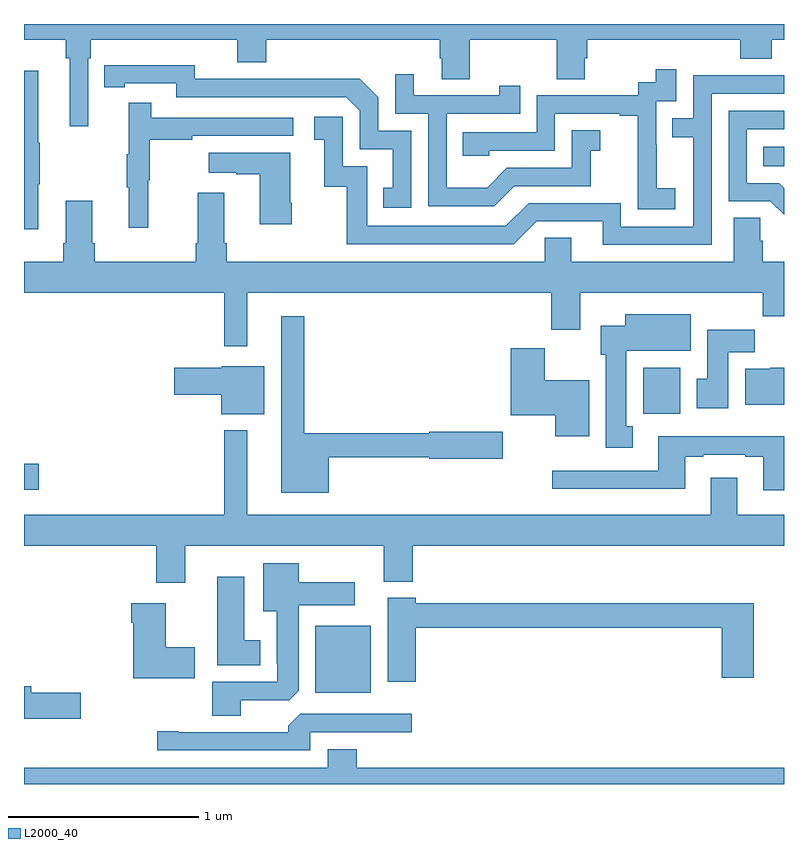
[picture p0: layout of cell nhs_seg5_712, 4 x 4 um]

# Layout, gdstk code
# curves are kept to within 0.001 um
import gdstk
lib = gdstk.Library(unit=1e-6, precision=1e-09)
def R(c, l, rs):  # rectangles x0, y0, x1, y1
    for r in rs: c.add(gdstk.rectangle(r[:2], r[2:], *l))
def P(c, l, *ps):  # polygons
    for p in ps: c.add(gdstk.Polygon(p, *l))
L2000_40 = (2000, 40)

nhs_seg5_712 = lib.new_cell('nhs_seg5_712')
R(nhs_seg5_712, L2000_40, [(156.533,897.278,156.826,897.631), (155,898.349,155.077,898.484), (158.258,898.748,158.455,898.99), (158.89,900.05,159,900.154)])
P(nhs_seg5_712, L2000_40, [(158.936,900.716),(159,900.716),(159,900.799),(155,900.799),(155,900.716),(155.221,900.716),(155.221,900.62),(155.24,900.62),(155.24,900.261),(155.337,900.261),(155.337,900.62),(155.351,900.62),(155.351,900.716),(156.122,900.716),(156.122,900.599),(156.275,900.599),(156.275,900.716),(157.187,900.716),(157.187,900.618),(157.199,900.618),(157.199,900.508),(157.347,900.508),(157.347,900.716),(157.804,900.716),(157.804,900.508),(157.951,900.508),(157.951,900.618),(157.964,900.618),(157.964,900.716),(158.771,900.716),(158.771,900.617),(158.936,900.617)],
  [(157.038,900.237),(156.864,900.237),(156.864,900.414),(156.766,900.512),(156.358,900.512),(156.358,900.51),(155.898,900.51),(155.898,900.583),(155.422,900.582),(155.422,900.466),(155.53,900.466),(155.53,900.486),(155.802,900.486),(155.802,900.414),(156.696,900.414),(156.768,900.342),(156.768,900.141),(156.941,900.141),(156.941,899.937),(156.892,899.937),(156.892,899.832),(157.038,899.832)],
  [(158.428,899.935),(158.33,899.935),(158.33,900.164),(158.328,900.164),(158.328,900.393),(158.433,900.393),(158.433,900.562),(158.325,900.562),(158.325,900.492),(158.232,900.492),(158.232,900.423),(157.698,900.423),(157.698,900.228),(157.309,900.228),(157.309,900.105),(157.449,900.105),(157.449,900.132),(157.794,900.132),(157.794,900.327),(158.135,900.327),(158.135,900.315),(158.231,900.315),(158.231,900.031),(158.23,900.031),(158.23,899.825),(158.428,899.825)],
  [(155.074,899.956),(155.082,899.956),(155.082,900.173),(155.074,900.173),(155.074,900.553),(155,900.553),(155,899.718),(155.074,899.718)],
  [(157.579,899.946),(157.983,899.946),(157.983,900.131),(158.032,900.131),(158.032,900.241),(157.884,900.241),(157.884,900.042),(157.542,900.042),(157.438,899.938),(157.224,899.938),(157.224,900.327),(157.613,900.327),(157.613,900.475),(157.502,900.475),(157.502,900.423),(157.051,900.423),(157.051,900.535),(156.954,900.535),(156.954,900.327),(157.128,900.327),(157.128,899.841),(157.474,899.841)],
  [(158.619,900.432),(159,900.432),(159,900.528),(158.523,900.528),(158.523,900.303),(158.413,900.303),(158.413,900.202),(158.523,900.202),(158.523,899.733),(158.142,899.733),(158.142,899.856),(157.656,899.856),(157.536,899.736),(156.807,899.736),(156.807,900.051),(156.678,900.051),(156.678,900.31),(156.528,900.31),(156.528,900.189),(156.581,900.189),(156.581,899.943),(156.699,899.943),(156.699,899.64),(157.578,899.64),(157.698,899.76),(158.045,899.76),(158.045,899.637),(158.619,899.637)],
  [(155.654,899.976),(155.662,899.976),(155.662,900.19),(155.885,900.19),(155.885,900.21),(156.418,900.21),(156.418,900.306),(155.669,900.306),(155.669,900.385),(155.552,900.385),(155.552,900.113),(155.541,900.113),(155.541,899.939),(155.552,899.939),(155.552,899.727),(155.654,899.727)],
  [(159,899.935),(158.974,899.961),(158.805,899.961),(158.805,900.246),(159,900.246),(159,900.342),(158.709,900.342),(158.709,899.865),(158.928,899.865),(159,899.794)],
  [(156.408,899.857),(156.4,899.857),(156.4,900.121),(155.973,900.121),(155.973,900.017),(156.116,900.017),(156.116,900.007),(156.242,900.007),(156.242,899.745),(156.408,899.745)],
  [(156.175,899.384),(157.775,899.384),(157.775,899.19),(157.927,899.19),(157.927,899.384),(158.887,899.384),(158.887,899.26),(159,899.26),(159,899.548),(158.888,899.548),(158.888,899.657),(158.874,899.657),(158.874,899.78),(158.735,899.78),(158.735,899.548),(157.879,899.548),(157.879,899.675),(157.74,899.675),(157.74,899.548),(156.068,899.548),(156.068,899.644),(156.055,899.644),(156.055,899.911),(155.915,899.911),(155.915,899.644),(155.903,899.644),(155.903,899.548),(155.372,899.548),(155.372,899.644),(155.359,899.644),(155.359,899.869),(155.219,899.869),(155.219,899.644),(155.207,899.644),(155.207,899.548),(155,899.548),(155,899.384),(156.054,899.384),(156.054,899.103),(156.175,899.103)],
  [(158.203,898.682),(158.17,898.682),(158.17,899.078),(158.509,899.078),(158.509,899.272),(158.165,899.272),(158.165,899.212),(158.036,899.212),(158.036,899.058),(158.063,899.058),(158.063,898.569),(158.203,898.569)],
  [(156.604,898.518),(157.134,898.518),(157.134,898.51),(157.519,898.51),(157.519,898.652),(157.134,898.652),(157.134,898.646),(156.475,898.646),(156.475,899.26),(156.353,899.26),(156.353,898.331),(156.604,898.331)],
  [(158.707,899.072),(158.846,899.072),(158.846,899.19),(158.597,899.19),(158.597,898.932),(158.54,898.932),(158.54,898.776),(158.707,898.776)],
  [(157.975,898.924),(157.74,898.924),(157.74,899.092),(157.562,899.092),(157.562,898.739),(157.796,898.739),(157.796,898.628),(157.975,898.628)],
  [(156.265,898.999),(156.042,898.999),(156.042,898.989),(155.79,898.989),(155.79,898.847),(156.038,898.847),(156.038,898.745),(156.265,898.745)],
  [(159,898.99),(158.928,898.99),(158.928,898.984),(158.795,898.984),(158.795,898.796),(159,898.796)],
  [(155.848,898.052),(156.893,898.052),(156.893,897.863),(157.046,897.863),(157.046,898.052),(159,898.052),(159,898.216),(158.755,898.216),(158.755,898.411),(158.615,898.411),(158.615,898.216),(156.175,898.216),(156.175,898.66),(156.054,898.66),(156.054,898.216),(155,898.216),(155,898.052),(155.696,898.052),(155.696,897.858),(155.848,897.858)],
  [(159,898.63),(158.339,898.63),(158.339,898.449),(157.779,898.449),(157.779,898.352),(158.479,898.352),(158.479,898.521),(158.575,898.521),(158.575,898.533),(158.795,898.533),(158.795,898.521),(158.891,898.521),(158.891,898.344),(159,898.344)],
  [(156.142,897.24),(156.396,897.24),(156.445,897.289),(156.445,897.74),(156.742,897.74),(156.742,897.862),(156.445,897.862),(156.445,897.961),(156.26,897.961),(156.26,897.707),(156.329,897.707),(156.329,897.433),(156.333,897.433),(156.333,897.336),(155.99,897.336),(155.99,897.157),(156.142,897.157)],
  [(156.244,897.556),(156.16,897.556),(156.16,897.889),(156.017,897.889),(156.017,897.425),(156.244,897.425)],
  [(157.061,897.622),(158.672,897.622),(158.672,897.357),(158.842,897.357),(158.842,897.751),(157.061,897.751),(157.061,897.778),(156.914,897.778),(156.914,897.336),(157.061,897.336)],
  [(155.899,897.519),(155.746,897.519),(155.746,897.751),(155.564,897.751),(155.564,897.647),(155.576,897.647),(155.576,897.356),(155.899,897.356)],
  [(155.299,897.278),(155.038,897.278),(155.038,897.314),(155,897.314),(155,897.143),(155.299,897.143)],
  [(156.507,897.072),(157.042,897.072),(157.042,897.168),(156.453,897.168),(156.392,897.106),(156.392,897.072),(155.812,897.072),(155.812,897.077),(155.7,897.077),(155.7,896.976),(156.507,896.976)],
  [(159,896.884),(156.752,896.884),(156.752,896.983),(156.599,896.983),(156.599,896.884),(155,896.884),(155,896.799),(159,896.799)])

lib.write_gds('nhs_seg5_712.gds')
